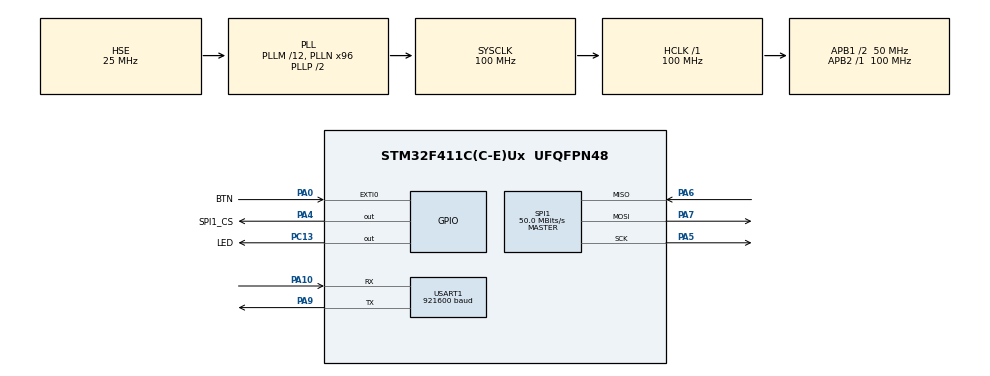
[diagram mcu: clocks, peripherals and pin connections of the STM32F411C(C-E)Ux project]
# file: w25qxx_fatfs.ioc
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FATFS._FS_EXFAT=1
FATFS._FS_NORTC=1
FATFS._MAX_SS=4096
FATFS._MIN_SS=4096
FATFS._USE_LABEL=0
FATFS._USE_LFN=1
FATFS._USE_TRIM=1
Mcu.Family=STM32F4
Mcu.Name=STM32F411C(C-E)Ux
Mcu.Package=UFQFPN48
NVIC.EXTI0_IRQn=true\:0\:0\:false\:false\:true\:true\:true\:true
NVIC.PriorityGroup=NVIC_PRIORITYGROUP_4
PA0-WKUP.GPIO_Label=BTN
PA0-WKUP.GPIO_ModeDefaultEXTI=GPIO_MODE_IT_RISING_FALLING
PA0-WKUP.GPIO_PuPd=GPIO_PULLUP
PA0-WKUP.Signal=GPXTI0
PA10.Mode=Asynchronous
PA10.Signal=USART1_RX
PA13.Mode=Serial_Wire
PA13.Signal=SYS_JTMS-SWDIO
PA14.Mode=Serial_Wire
PA14.Signal=SYS_JTCK-SWCLK
PA4.GPIO_Label=SPI1_CS
PA4.GPIO_Speed=GPIO_SPEED_FREQ_HIGH
PA4.PinState=GPIO_PIN_SET
PA4.Signal=GPIO_Output
PA5.Mode=Full_Duplex_Master
PA5.Signal=SPI1_SCK
PA6.Mode=Full_Duplex_Master
PA6.Signal=SPI1_MISO
PA7.Mode=Full_Duplex_Master
PA7.Signal=SPI1_MOSI
PA9.Mode=Asynchronous
PA9.Signal=USART1_TX
PC13-ANTI_TAMP.GPIO_Label=LED
PC13-ANTI_TAMP.Signal=GPIO_Output
PH0\ -\ OSC_IN.Mode=HSE-External-Oscillator
PH0\ -\ OSC_IN.Signal=RCC_OSC_IN
PH1\ -\ OSC_OUT.Mode=HSE-External-Oscillator
PH1\ -\ OSC_OUT.Signal=RCC_OSC_OUT
ProjectManager.HeapSize=0x200
ProjectManager.StackSize=0x400
ProjectManager.TargetToolchain=STM32CubeIDE
RCC.48MHZClocksFreq_Value=50000000
RCC.AHBFreq_Value=100000000
RCC.APB1CLKDivider=RCC_HCLK_DIV2
RCC.APB1Freq_Value=50000000
RCC.APB1TimFreq_Value=100000000
RCC.APB2Freq_Value=100000000
RCC.APB2TimFreq_Value=100000000
RCC.CortexFreq_Value=100000000
RCC.HCLKFreq_Value=100000000
RCC.HSE_VALUE=25000000
RCC.HSI_VALUE=16000000
RCC.LSE_VALUE=32768
RCC.PLLM=12
RCC.PLLN=96
RCC.PLLSourceVirtual=RCC_PLLSOURCE_HSE
RCC.SYSCLKFreq_VALUE=100000000
RCC.SYSCLKSource=RCC_SYSCLKSOURCE_PLLCLK
RCC.VCOOutputFreq_Value=200000000
SPI1.CalculateBaudRate=50.0 MBits/s
SPI1.Direction=SPI_DIRECTION_2LINES
SPI1.Mode=SPI_MODE_MASTER
SPI1.VirtualType=VM_MASTER
USART1.BaudRate=921600
USART1.VirtualMode=VM_ASYNC
VP_FATFS_VS_Generic.Mode=User_defined
board=custom

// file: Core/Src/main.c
/* USER CODE BEGIN Header */
/**
 ******************************************************************************
 * @file           : main.c
 * @brief          : Main program body
 ******************************************************************************
 * @attention
 *
 * Copyright (c) 2022 STMicroelectronics.
 * All rights reserved.
 *
 * This software is licensed under terms that can be found in the LICENSE file
 * in the root directory of this software component.
 * If no LICENSE file comes with this software, it is provided AS-IS.
 *
 ******************************************************************************
 */
/* USER CODE END Header */
#include "main.h"
#include "fatfs.h"

/* USER CODE BEGIN Includes */
#include "stdio.h"
#include "w25qxx.h"
#include "w25qxx_diskio.h"
/* USER CODE END Includes */

 SPI_HandleTypeDef hspi1;

UART_HandleTypeDef huart1;

/* USER CODE BEGIN PV */

W25QXX_HandleTypeDef w25qxx = { 0 };

Diskio_drvTypeDef w25qxx_Driver = {
		w25qxx_diskio_initialize,
		w25qxx_diskio_status,
		w25qxx_diskio_read,
#if  _USE_WRITE
		w25qxx_diskio_write,
#endif  /* _USE_WRITE == 1 */
#if  _USE_IOCTL == 1
		w25qxx_diskio_ioctl,
#endif /* _USE_IOCTL == 1 */
		};

uint8_t ret; /* Return value for USER */
char w25qxx_driver_Path[4]; /* USER logical drive path */
FATFS w25qxx_driver_FatFS; /* File system object for USER logical drive */
FIL w25qxx_driver_File; /* File object for USER */

/* USER CODE END PV */

void SystemClock_Config(void);
static void MX_GPIO_Init(void);
static void MX_SPI1_Init(void);
static void MX_USART1_UART_Init(void);

/* USER CODE BEGIN 0 */

// Send printf to uart1
int _write(int fd, char *ptr, int len) {
	HAL_StatusTypeDef hstatus;

	if (fd == 1 || fd == 2) {
		hstatus = HAL_UART_Transmit(&huart1, (uint8_t*) ptr, len,
				HAL_MAX_DELAY);
		if (hstatus == HAL_OK)
			return len;
		else
			return -1;
	}
	return -1;
}

/* USER CODE END 0 */

int main(void)
{

  /* MCU Configuration--------------------------------------------------------*/

  /* Reset of all peripherals, Initializes the Flash interface and the Systick. */
  HAL_Init();

  /* Configure the system clock */
  SystemClock_Config();

  /* Initialize all configured peripherals */
  MX_GPIO_Init();
  MX_SPI1_Init();
  MX_USART1_UART_Init();
  /* USER CODE BEGIN 2 */

	DBG("\n-----------\nStart - peripherals initialized");

	DBG("Initializing W25Qxx");
	if (w25qxx_init(&w25qxx, &hspi1, SPI1_CS_GPIO_Port, SPI1_CS_Pin)
			== W25QXX_Ok) {
		DBG("W25QXX successfully initialized");
		DBG("Manufacturer       = 0x%2x", w25qxx.manufacturer_id);
		DBG("Device             = 0x%4x", w25qxx.device_id);
		DBG("Block size         = 0x%04lx (%lu)", w25qxx.block_size,
				w25qxx.block_size);
		DBG("Block count        = 0x%04lx (%lu)", w25qxx.block_count,
				w25qxx.block_count);
		DBG("Sector size        = 0x%04lx (%lu)", w25qxx.sector_size,
				w25qxx.sector_size);
		DBG("Sectors per block  = 0x%04lx (%lu)", w25qxx.sectors_in_block,
				w25qxx.sectors_in_block);
		DBG("Page size          = 0x%04lx (%lu)", w25qxx.page_size,
				w25qxx.page_size);
		DBG("Pages per sector   = 0x%04lx (%lu)", w25qxx.pages_in_sector,
				w25qxx.pages_in_sector);
		DBG("Total size (in kB) = 0x%04lx (%lu)",
				(w25qxx.block_count * w25qxx.block_size) / 1024,
				(w25qxx.block_count * w25qxx.block_size) / 1024);
	} else {
		DBG("Failed");
	}

	DBG("Initializing FATFS");

	FRESULT fres;
	uint32_t wbytes; /* File write counts */
	uint8_t rtext[_MAX_SS];
	uint8_t wtext[] = "text to write logical disk";

	//w25qxx_diskio_sethandler(&w25qxx);

	if (FATFS_LinkDriver(&w25qxx_Driver, &w25qxx_driver_Path) == 0) {
		DBG("Driver linked");

		DBG("Trying to format")
		fres = f_mkfs((TCHAR const*)&w25qxx_driver_Path, FM_FAT, 0, rtext, sizeof(rtext));
		DBG("Mkfs returned: %d", fres);

		fres = f_mount(&w25qxx_driver_FatFS, (TCHAR const*) &w25qxx_driver_Path, 1);
		DBG("Mount returned: %d", fres);

		fres = f_open(&w25qxx_driver_File, "STM32.TXT", FA_CREATE_ALWAYS | FA_WRITE);
		DBG("Open returned %d", fres);
				if (f_write(&w25qxx_driver_File, wtext, sizeof(wtext), (void*) &wbytes)
						== FR_OK)

				{
					DBG("File written");
					f_sync(&w25qxx_driver_File);
					f_close(&w25qxx_driver_File);
				}

	} else {
		DBG("Driver link failed");
	}

  /* USER CODE END 2 */

  /* Infinite loop */
  /* USER CODE BEGIN WHILE */

	uint32_t now = 0, last_print = 0, last_blink = 0;

	while (1) {

		now = HAL_GetTick();

		if (now - last_blink >= 500) {

			HAL_GPIO_TogglePin(LED_GPIO_Port, LED_Pin);

			last_blink = now;

		}

		if (now - last_print >= 10000) {

			DBG("Tick %lu", now / 10000);

			last_print = now;

		}

    /* USER CODE END WHILE */

	}
}

void SystemClock_Config(void)
{
  RCC_OscInitTypeDef RCC_OscInitStruct = {0};
  RCC_ClkInitTypeDef RCC_ClkInitStruct = {0};

  /** Configure the main internal regulator output voltage
  */
  __HAL_RCC_PWR_CLK_ENABLE();
  __HAL_PWR_VOLTAGESCALING_CONFIG(PWR_REGULATOR_VOLTAGE_SCALE1);

  /** Initializes the RCC Oscillators according to the specified parameters
  * in the RCC_OscInitTypeDef structure.
  */
  RCC_OscInitStruct.OscillatorType = RCC_OSCILLATORTYPE_HSE;
  RCC_OscInitStruct.HSEState = RCC_HSE_ON;
  RCC_OscInitStruct.PLL.PLLState = RCC_PLL_ON;
  RCC_OscInitStruct.PLL.PLLSource = RCC_PLLSOURCE_HSE;
  RCC_OscInitStruct.PLL.PLLM = 12;
  RCC_OscInitStruct.PLL.PLLN = 96;
  RCC_OscInitStruct.PLL.PLLP = RCC_PLLP_DIV2;
  RCC_OscInitStruct.PLL.PLLQ = 4;
  if (HAL_RCC_OscConfig(&RCC_OscInitStruct) != HAL_OK)
  {
    Error_Handler();
  }

  /** Initializes the CPU, AHB and APB buses clocks
  */
  RCC_ClkInitStruct.ClockType = RCC_CLOCKTYPE_HCLK|RCC_CLOCKTYPE_SYSCLK
                              |RCC_CLOCKTYPE_PCLK1|RCC_CLOCKTYPE_PCLK2;
  RCC_ClkInitStruct.SYSCLKSource = RCC_SYSCLKSOURCE_PLLCLK;
  RCC_ClkInitStruct.AHBCLKDivider = RCC_SYSCLK_DIV1;
  RCC_ClkInitStruct.APB1CLKDivider = RCC_HCLK_DIV2;
  RCC_ClkInitStruct.APB2CLKDivider = RCC_HCLK_DIV1;

  if (HAL_RCC_ClockConfig(&RCC_ClkInitStruct, FLASH_LATENCY_3) != HAL_OK)
  {
    Error_Handler();
  }
}

static void MX_SPI1_Init(void)
{

  /* SPI1 parameter configuration*/
  hspi1.Instance = SPI1;
  hspi1.Init.Mode = SPI_MODE_MASTER;
  hspi1.Init.Direction = SPI_DIRECTION_2LINES;
  hspi1.Init.DataSize = SPI_DATASIZE_8BIT;
  hspi1.Init.CLKPolarity = SPI_POLARITY_LOW;
  hspi1.Init.CLKPhase = SPI_PHASE_1EDGE;
  hspi1.Init.NSS = SPI_NSS_SOFT;
  hspi1.Init.BaudRatePrescaler = SPI_BAUDRATEPRESCALER_2;
  hspi1.Init.FirstBit = SPI_FIRSTBIT_MSB;
  hspi1.Init.TIMode = SPI_TIMODE_DISABLE;
  hspi1.Init.CRCCalculation = SPI_CRCCALCULATION_DISABLE;
  hspi1.Init.CRCPolynomial = 10;
  if (HAL_SPI_Init(&hspi1) != HAL_OK)
  {
    Error_Handler();
  }

}

static void MX_USART1_UART_Init(void)
{

  huart1.Instance = USART1;
  huart1.Init.BaudRate = 921600;
  huart1.Init.WordLength = UART_WORDLENGTH_8B;
  huart1.Init.StopBits = UART_STOPBITS_1;
  huart1.Init.Parity = UART_PARITY_NONE;
  huart1.Init.Mode = UART_MODE_TX_RX;
  huart1.Init.HwFlowCtl = UART_HWCONTROL_NONE;
  huart1.Init.OverSampling = UART_OVERSAMPLING_16;
  if (HAL_UART_Init(&huart1) != HAL_OK)
  {
    Error_Handler();
  }

}

static void MX_GPIO_Init(void)
{
  GPIO_InitTypeDef GPIO_InitStruct = {0};

  /* GPIO Ports Clock Enable */
  __HAL_RCC_GPIOC_CLK_ENABLE();
  __HAL_RCC_GPIOH_CLK_ENABLE();
  __HAL_RCC_GPIOA_CLK_ENABLE();

  /*Configure GPIO pin Output Level */
  HAL_GPIO_WritePin(LED_GPIO_Port, LED_Pin, GPIO_PIN_RESET);

  /*Configure GPIO pin Output Level */
  HAL_GPIO_WritePin(SPI1_CS_GPIO_Port, SPI1_CS_Pin, GPIO_PIN_SET);

  /*Configure GPIO pin : LED_Pin */
  GPIO_InitStruct.Pin = LED_Pin;
  GPIO_InitStruct.Mode = GPIO_MODE_OUTPUT_PP;
  GPIO_InitStruct.Pull = GPIO_NOPULL;
  GPIO_InitStruct.Speed = GPIO_SPEED_FREQ_LOW;
  HAL_GPIO_Init(LED_GPIO_Port, &GPIO_InitStruct);

  /*Configure GPIO pin : BTN_Pin */
  GPIO_InitStruct.Pin = BTN_Pin;
  GPIO_InitStruct.Mode = GPIO_MODE_IT_RISING_FALLING;
  GPIO_InitStruct.Pull = GPIO_PULLUP;
  HAL_GPIO_Init(BTN_GPIO_Port, &GPIO_InitStruct);

  /*Configure GPIO pin : SPI1_CS_Pin */
  GPIO_InitStruct.Pin = SPI1_CS_Pin;
  GPIO_InitStruct.Mode = GPIO_MODE_OUTPUT_PP;
  GPIO_InitStruct.Pull = GPIO_NOPULL;
  GPIO_InitStruct.Speed = GPIO_SPEED_FREQ_HIGH;
  HAL_GPIO_Init(SPI1_CS_GPIO_Port, &GPIO_InitStruct);

  /* EXTI interrupt init*/
  HAL_NVIC_SetPriority(EXTI0_IRQn, 0, 0);
  HAL_NVIC_EnableIRQ(EXTI0_IRQn);

}

void Error_Handler(void)
{
	__disable_irq();
	while (1) {
	}
}
